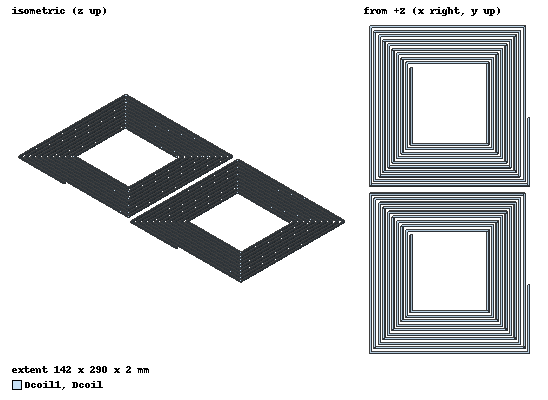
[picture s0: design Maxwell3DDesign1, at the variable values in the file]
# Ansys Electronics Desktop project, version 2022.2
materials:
  vacuum: permittivity=1

design Maxwell3DDesign1 (Maxwell 3D, Magnetostatic, model units mm)
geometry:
  Dcoil [vacuum] = polyline(z=0mm, xy in mm: (140, 60) (140, 0) (0, 0) (0, 140) (136, 140) (136, 4) (4, 4) (4, 136) (132, 136) (132, 8) (8, 8) (8, 132) (128, 132) (128, 12) (12, 12) (12, 128) (124, 128) (124, 16) (16, 16) (16, 124) (120, 124) (120, 20) (20, 20) (20, 120) (116, 120) (116, 24) (24, 24) (24, 116) (112, 116) (112, 28) (28, 28) (28, 112) (108, 112) (108, 32) (32, 32) (32, 108) (104, 108) (104, 36) (36, 36) (36, 104), section circle width=2mm)
  Dcoil1 [vacuum] = polyline(z=0mm, xy in mm: (140, 60) (140, 0) (0, 0) (0, 140) (136, 140) (136, 4) (4, 4) (4, 136) (132, 136) (132, 8) (8, 8) (8, 132) (128, 132) (128, 12) (12, 12) (12, 128) (124, 128) (124, 16) (16, 16) (16, 124) (120, 124) (120, 20) (20, 20) (20, 120) (116, 120) (116, 24) (24, 24) (24, 116) (112, 116) (112, 28) (28, 28) (28, 112) (108, 112) (108, 32) (32, 32) (32, 108) (104, 108) (104, 36) (36, 36) (36, 104), section circle width=2mm)
  Polyline1 = polyline((-3mm, -1mm, 0mm) (-3mm, -5mm, 0mm))
  Dcoil1.move(0mm, 148mm, 0mm)
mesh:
  initial mesh: GlobalCurvilinear{Apply}
